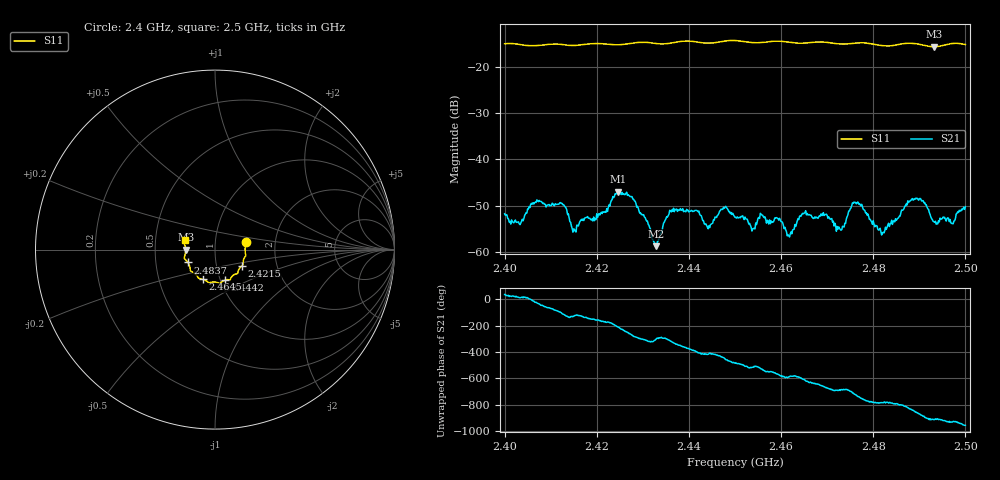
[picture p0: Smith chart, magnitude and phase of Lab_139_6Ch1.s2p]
# Hz S RI R 50
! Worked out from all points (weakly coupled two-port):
!   601 points, 2.4 GHz to 2.5 GHz, reference 50 ohm
!   highest |S21| = -46.92 dB at 2.4247 GHz (marker M1); lowest = -58.7 dB at 2.4328 GHz (marker M2)
!   lowest |S11| = -15.7 dB at 2.4932 GHz (marker M3), VSWR 1.39, Z = 35.9 - j0.0436 ohm
!   |S11| at or under -10 dB: start of sweep to end of sweep
!   S12 and S22 are empty: the file has one direction only
!   S11 on the Smith chart (normalised r, x): 2.4 GHz: 1.41, +0.12; 2.4215 GHz: 1.33, -0.25; 2.4442 GHz: 1.05, -0.37; 2.4645 GHz: 0.83, -0.29; 2.4837 GHz: 0.73, -0.11; 2.5 GHz: 0.71, +0.07
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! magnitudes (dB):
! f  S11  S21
! 2.4 GHz  -15.1  -51.7
! 2.4032 GHz  -15.2  -53.8
! 2.4075 GHz  -15.5  -48.8
! 2.4167 GHz  -15.3  -52.9
! 2.4215 GHz  -15.1  -51.3
! 2.4247 GHz  -15.3  -46.9
! 2.428 GHz  -14.9  -48.6
! 2.4328 GHz  -15.0  -58.7
! 2.4333 GHz  -15.1  -57.5
! 2.4368 GHz  -14.8  -51.2
! 2.4442 GHz  -15.0  -54.9
! 2.45 GHz  -14.4  -52.5
! 2.4618 GHz  -14.8  -56.7
! 2.4645 GHz  -15.0  -51.8
! 2.4667 GHz  -14.8  -52.3
! 2.4732 GHz  -15.1  -55.1
! 2.4762 GHz  -15.0  -49.3
! 2.4833 GHz  -15.6  -53.7
! 2.4837 GHz  -15.5  -53.9
! 2.489 GHz  -15.1  -48.6
! 2.4932 GHz  -15.7  -53.4
! 2.5 GHz  -15.3  -50.2
